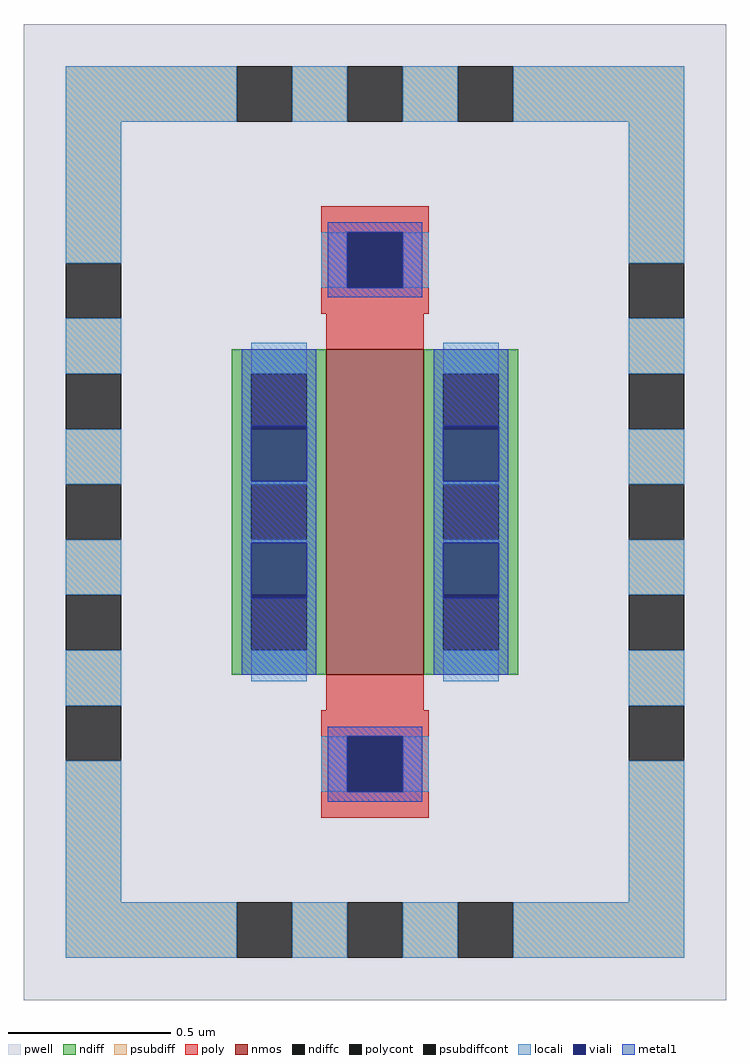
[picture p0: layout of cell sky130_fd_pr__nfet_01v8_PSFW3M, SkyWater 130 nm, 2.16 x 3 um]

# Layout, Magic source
magic
tech sky130A
magscale 1 2
<< pwell >>
rect -216 -300 216 300
<< nmos >>
rect -30 -100 30 100
<< ndiff >>
rect -88 85 -30 100
rect -88 51 -76 85
rect -42 51 -30 85
rect -88 17 -30 51
rect -88 -17 -76 17
rect -42 -17 -30 17
rect -88 -51 -30 -17
rect -88 -85 -76 -51
rect -42 -85 -30 -51
rect -88 -100 -30 -85
rect 30 85 88 100
rect 30 51 42 85
rect 76 51 88 85
rect 30 17 88 51
rect 30 -17 42 17
rect 76 -17 88 17
rect 30 -51 88 -17
rect 30 -85 42 -51
rect 76 -85 88 -51
rect 30 -100 88 -85
<< ndiffc >>
rect -76 51 -42 85
rect -76 -17 -42 17
rect -76 -85 -42 -51
rect 42 51 76 85
rect 42 -17 76 17
rect 42 -85 76 -51
<< psubdiff >>
rect -190 240 -85 274
rect -51 240 -17 274
rect 17 240 51 274
rect 85 240 190 274
rect -190 153 -156 240
rect 156 153 190 240
rect -190 85 -156 119
rect -190 17 -156 51
rect -190 -51 -156 -17
rect -190 -119 -156 -85
rect 156 85 190 119
rect 156 17 190 51
rect 156 -51 190 -17
rect 156 -119 190 -85
rect -190 -240 -156 -153
rect 156 -240 190 -153
rect -190 -274 -85 -240
rect -51 -274 -17 -240
rect 17 -274 51 -240
rect 85 -274 190 -240
<< psubdiffcont >>
rect -85 240 -51 274
rect -17 240 17 274
rect 51 240 85 274
rect -190 119 -156 153
rect 156 119 190 153
rect -190 51 -156 85
rect -190 -17 -156 17
rect -190 -85 -156 -51
rect 156 51 190 85
rect 156 -17 190 17
rect 156 -85 190 -51
rect -190 -153 -156 -119
rect 156 -153 190 -119
rect -85 -274 -51 -240
rect -17 -274 17 -240
rect 51 -274 85 -240
<< poly >>
rect -33 172 33 188
rect -33 138 -17 172
rect 17 138 33 172
rect -33 122 33 138
rect -30 100 30 122
rect -30 -122 30 -100
rect -33 -138 33 -122
rect -33 -172 -17 -138
rect 17 -172 33 -138
rect -33 -188 33 -172
<< polycont >>
rect -17 138 17 172
rect -17 -172 17 -138
<< locali >>
rect -190 240 -85 274
rect -51 240 -17 274
rect 17 240 51 274
rect 85 240 190 274
rect -190 153 -156 240
rect -33 138 -17 172
rect 17 138 33 172
rect 156 153 190 240
rect -190 85 -156 119
rect -190 17 -156 51
rect -190 -51 -156 -17
rect -190 -119 -156 -85
rect -76 85 -42 104
rect -76 17 -42 19
rect -76 -19 -42 -17
rect -76 -104 -42 -85
rect 42 85 76 104
rect 42 17 76 19
rect 42 -19 76 -17
rect 42 -104 76 -85
rect 156 85 190 119
rect 156 17 190 51
rect 156 -51 190 -17
rect 156 -119 190 -85
rect -190 -240 -156 -153
rect -33 -172 -17 -138
rect 17 -172 33 -138
rect 156 -240 190 -153
rect -190 -274 -85 -240
rect -51 -274 -17 -240
rect 17 -274 51 -240
rect 85 -274 190 -240
<< viali >>
rect -17 138 17 172
rect -76 51 -42 53
rect -76 19 -42 51
rect -76 -51 -42 -19
rect -76 -53 -42 -51
rect 42 51 76 53
rect 42 19 76 51
rect 42 -51 76 -19
rect 42 -53 76 -51
rect -17 -172 17 -138
<< metal1 >>
rect -29 172 29 178
rect -29 138 -17 172
rect 17 138 29 172
rect -29 132 29 138
rect -82 53 -36 100
rect -82 19 -76 53
rect -42 19 -36 53
rect -82 -19 -36 19
rect -82 -53 -76 -19
rect -42 -53 -36 -19
rect -82 -100 -36 -53
rect 36 53 82 100
rect 36 19 42 53
rect 76 19 82 53
rect 36 -19 82 19
rect 36 -53 42 -19
rect 76 -53 82 -19
rect 36 -100 82 -53
rect -29 -138 29 -132
rect -29 -172 -17 -138
rect 17 -172 29 -138
rect -29 -178 29 -172
<< properties >>
string FIXED_BBOX -173 -257 173 257
<< end >>
